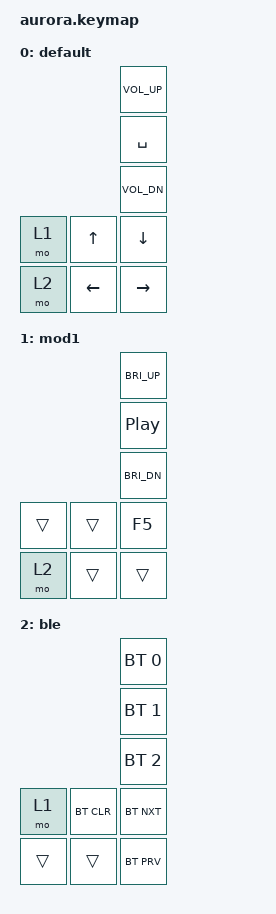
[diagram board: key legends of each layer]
/*
 * Copyright (c) 2023 The ZMK Contributors
 *
 * SPDX-License-Identifier: MIT
 */

#include <behaviors.dtsi>
#include <dt-bindings/zmk/keys.h>
#include <dt-bindings/zmk/bt.h>

/ {
    combos{
        compatible = "zmk,combos";

        combo_pgup{
            timeout-ms = <50>;
            key-positions = <4 5>;
            bindings = <&kp PG_UP>;
        };

        combo_pgdn{
            timeout-ms = <50>;
            key-positions = <7 8>;
            bindings = <&kp PG_DN>;
        };
    };

    keymap {
        compatible = "zmk,keymap";

        default{
      
            // ----------------------
            // |-------------| VOLU |
            // |-----MCU-----| PL/PA|
            // |-------------| VOLD |
            // |  FN1 |  UP  | DOWN | 
            // |  FN2 |  LEFT| RIGHT|
            // ----------------------

            bindings = <         
                                &kp C_VOL_UP 
                                &kp SPACE 
                                &kp C_VOL_DN
                &mo 1  &kp UP   &kp DOWN
                &mo 2  &kp LEFT &kp RIGHT
            >;
        };

        mod1{
            // ----------------------
            // |-------------| BRIU |
            // |-----MCU-----| SPACE|
            // |-------------| BRID |
            // |      |      |  F5  | 
            // |  FN2 |      |      |
            // ----------------------

            bindings = <     
                                &kp C_BRI_UP  
                                &kp C_PLAY_PAUSE 
                                &kp C_BRI_DN
                &trans  &trans  &kp F5
                &mo 2   &trans  &trans
            >;
        };

        ble{
            // ----------------------
            // |-------------| BT1  |
            // |-----MCU-----| BT2  |
            // |-------------| BT3  |
            // |  FN1 |BTclr |BTnxt | 
            // |      |      |BTprv |
            // ----------------------

            bindings = <        
                                   &bt BT_SEL 0 
                                   &bt BT_SEL 1 
                                   &bt BT_SEL 2
                &mo 1   &bt BT_CLR &bt BT_NXT
                &trans  &trans     &bt BT_PRV
            >;
        };
    };
};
